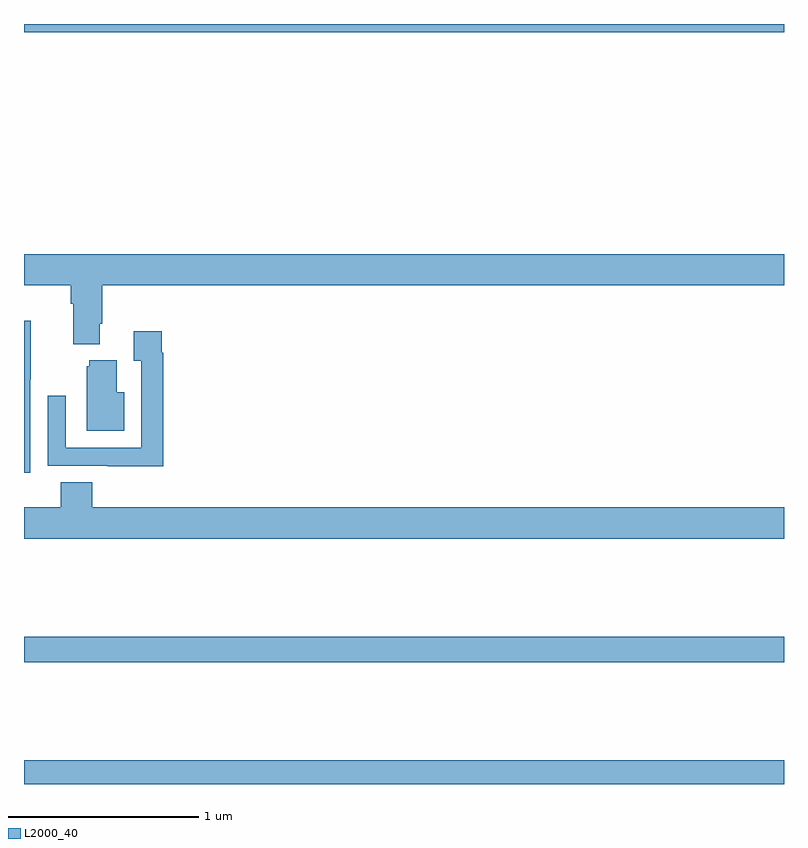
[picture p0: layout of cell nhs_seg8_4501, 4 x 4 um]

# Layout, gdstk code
import gdstk
lib = gdstk.Library(unit=1e-6, precision=1e-09)
def R(c, l, rs):  # rectangles x0, y0, x1, y1
    for r in rs: c.add(gdstk.rectangle(r[:2], r[2:], *l))
def P(c, l, *ps):  # polygons
    for p in ps: c.add(gdstk.Polygon(p, *l))
L2000_40 = (2000, 40)

nhs_seg8_4501 = lib.new_cell('nhs_seg8_4501')
R(nhs_seg8_4501, L2000_40, [(385,1089.9,389,1090.024), (385,1090.54,389,1090.676), (385,1093.856,389,1093.9)])
P(nhs_seg8_4501, L2000_40, [(385.399,1092.322),(385.412,1092.322),(385.412,1092.524),(389,1092.524),(389,1092.688),(385,1092.688),(385,1092.524),(385.247,1092.524),(385.247,1092.428),(385.259,1092.428),(385.259,1092.215),(385.399,1092.215)],
  [(385.032,1092.031),(385.035,1092.031),(385.035,1092.338),(385,1092.338),(385,1091.538),(385.032,1091.538)],
  [(385.733,1092.17),(385.726,1092.17),(385.726,1092.283),(385.577,1092.283),(385.577,1092.127),(385.617,1092.127),(385.617,1091.67),(385.221,1091.67),(385.221,1091.944),(385.125,1091.944),(385.125,1091.574),(385.441,1091.574),(385.441,1091.573),(385.733,1091.573)],
  [(385.528,1091.962),(385.489,1091.962),(385.489,1092.13),(385.343,1092.13),(385.343,1092.099),(385.331,1092.099),(385.331,1091.759),(385.528,1091.759)],
  [(389,1091.356),(385.358,1091.356),(385.358,1091.489),(385.193,1091.489),(385.193,1091.356),(385,1091.356),(385,1091.192),(389,1091.192)])

lib.write_gds('nhs_seg8_4501.gds')
